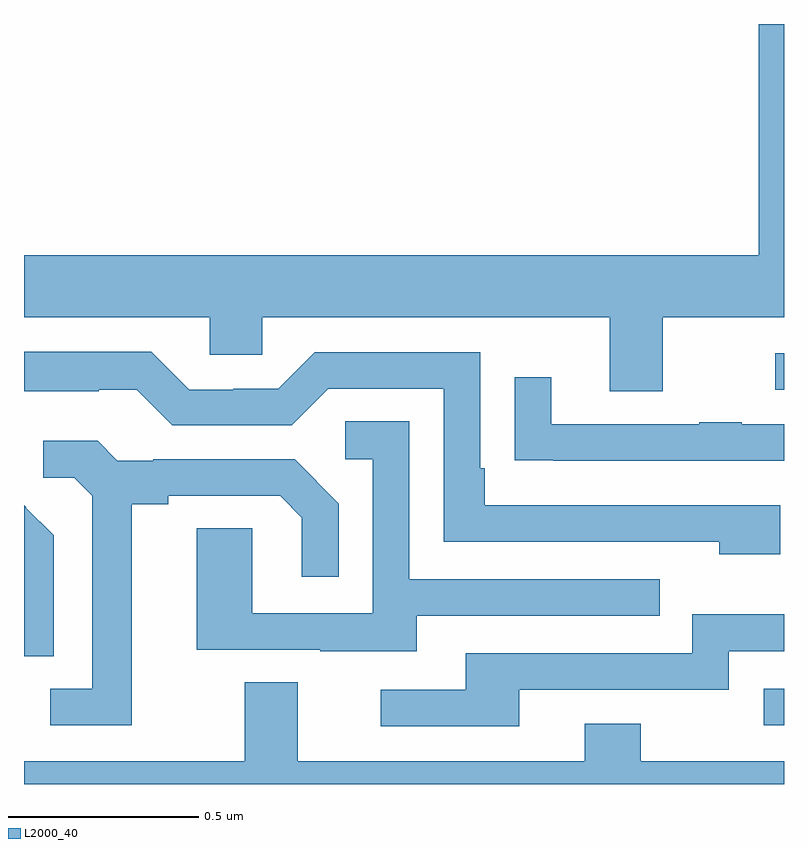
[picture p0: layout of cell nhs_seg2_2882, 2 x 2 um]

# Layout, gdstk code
import gdstk
lib = gdstk.Library(unit=1e-6, precision=1e-09)
def R(c, l, rs):  # rectangles x0, y0, x1, y1
    for r in rs: c.add(gdstk.rectangle(r[:2], r[2:], *l))
def P(c, l, *ps):  # polygons
    for p in ps: c.add(gdstk.Polygon(p, *l))
L2000_40 = (2000, 40)

nhs_seg2_2882 = lib.new_cell('nhs_seg2_2882')
R(nhs_seg2_2882, L2000_40, [(148.947,587.955,149,588.051), (148.977,588.837,149,588.933)])
P(nhs_seg2_2882, L2000_40, [(147,589.028),(147.489,589.028),(147.489,588.93),(147.627,588.93),(147.627,589.028),(148.541,589.028),(148.541,588.834),(148.681,588.834),(148.681,589.028),(149,589.028),(149,589.8),(148.934,589.8),(148.934,589.192),(147,589.192)],
  [(148.99,588.534),(148.213,588.534),(148.213,588.631),(148.2,588.631),(148.2,588.936),(147.765,588.936),(147.669,588.84),(147.551,588.84),(147.551,588.837),(147.435,588.837),(147.335,588.937),(147,588.937),(147,588.833),(147.197,588.833),(147.197,588.837),(147.297,588.837),(147.39,588.744),(147.705,588.744),(147.801,588.84),(148.104,588.84),(148.104,588.438),(148.829,588.438),(148.829,588.404),(148.99,588.404)],
  [(149,588.747),(148.889,588.747),(148.889,588.752),(148.777,588.752),(148.777,588.747),(148.387,588.747),(148.387,588.871),(148.291,588.871),(148.291,588.652),(148.393,588.652),(148.393,588.651),(149,588.651)],
  [(148.033,588.243),(148.673,588.243),(148.673,588.339),(148.014,588.339),(148.014,588.755),(147.846,588.755),(147.846,588.654),(147.918,588.654),(147.918,588.249),(147.6,588.249),(147.6,588.473),(147.455,588.473),(147.455,588.153),(147.779,588.153),(147.779,588.149),(148.033,588.149)],
  [(147.283,588.536),(147.379,588.536),(147.379,588.558),(147.674,588.558),(147.731,588.501),(147.731,588.345),(147.828,588.345),(147.828,588.538),(147.712,588.654),(147.34,588.654),(147.34,588.651),(147.246,588.651),(147.194,588.703),(147.051,588.703),(147.051,588.606),(147.132,588.606),(147.179,588.559),(147.179,588.051),(147.069,588.051),(147.069,587.955),(147.283,587.955)],
  [(147.078,588.454),(147.005,588.527),(147.006,588.528),(147,588.534),(147,588.136),(147.078,588.136)],
  [(148.303,588.048),(148.854,588.048),(148.854,588.15),(149,588.15),(149,588.247),(148.758,588.247),(148.758,588.144),(148.163,588.144),(148.163,588.048),(147.939,588.048),(147.939,587.952),(148.303,587.952)],
  [(149,587.86),(148.623,587.86),(148.623,587.959),(148.475,587.959),(148.475,587.86),(147.721,587.86),(147.721,588.068),(147.581,588.068),(147.581,587.86),(147,587.86),(147,587.8),(149,587.8)])

lib.write_gds('nhs_seg2_2882.gds')
